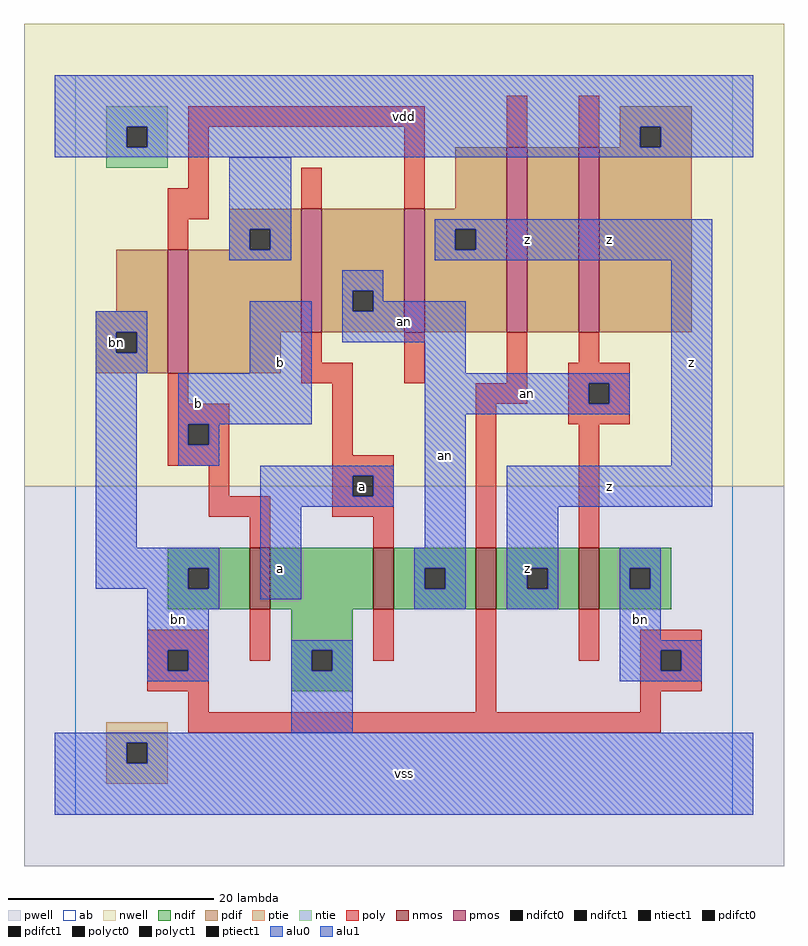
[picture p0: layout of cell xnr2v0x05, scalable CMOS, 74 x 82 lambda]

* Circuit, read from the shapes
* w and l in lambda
.subckt xnr2v0x05 a an b bn vdd vss z
M1 vss b bn vss nfet w=6 l=2
M2 an a vss vss nfet w=6 l=2
M3 z bn an vss nfet w=6 l=2
M4 bn an z vss nfet w=6 l=2
M5 vdd b bn vdd pfet w=12 l=2
M6 an a vdd vdd pfet w=12 l=2
M7 z b an vdd pfet w=12 l=2
M8 n1 bn z vdd pfet w=18 l=2
M9 vdd an n1 vdd pfet w=18 l=2
.ends

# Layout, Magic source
magic
tech scmos
<< ab >>
rect 0 0 64 72
<< nwell >>
rect -5 32 69 77
<< pwell >>
rect -5 -5 69 32
<< poly >>
rect 11 67 34 69
rect 11 61 13 67
rect 9 58 13 61
rect 22 59 24 63
rect 32 59 34 67
rect 42 65 44 70
rect 49 65 51 70
rect 9 55 11 58
rect 22 44 24 47
rect 9 40 11 43
rect 22 42 27 44
rect 32 42 34 47
rect 42 42 44 47
rect 49 44 51 47
rect 9 38 15 40
rect 9 36 11 38
rect 13 36 15 38
rect 9 34 15 36
rect 13 31 15 34
rect 25 35 27 42
rect 39 40 44 42
rect 48 42 54 44
rect 48 40 50 42
rect 52 40 54 42
rect 25 33 31 35
rect 25 31 27 33
rect 29 31 31 33
rect 13 29 19 31
rect 25 29 31 31
rect 17 26 19 29
rect 29 26 31 29
rect 39 26 41 40
rect 48 38 54 40
rect 49 26 51 38
rect 7 16 13 18
rect 7 14 9 16
rect 11 14 13 16
rect 17 15 19 20
rect 7 12 13 14
rect 29 15 31 20
rect 11 10 13 12
rect 39 10 41 20
rect 49 15 51 20
rect 55 16 61 18
rect 55 14 57 16
rect 59 14 61 16
rect 55 12 61 14
rect 55 10 57 12
rect 11 8 57 10
<< ndif >>
rect 9 24 17 26
rect 9 22 11 24
rect 13 22 17 24
rect 9 20 17 22
rect 19 20 29 26
rect 31 24 39 26
rect 31 22 34 24
rect 36 22 39 24
rect 31 20 39 22
rect 41 24 49 26
rect 41 22 44 24
rect 46 22 49 24
rect 41 20 49 22
rect 51 24 58 26
rect 51 22 54 24
rect 56 22 58 24
rect 51 20 58 22
rect 21 16 27 20
rect 21 14 23 16
rect 25 14 27 16
rect 21 12 27 14
<< pdif >>
rect 53 67 60 69
rect 53 65 55 67
rect 57 65 60 67
rect 37 59 42 65
rect 15 57 22 59
rect 15 55 17 57
rect 19 55 22 57
rect 4 49 9 55
rect 2 47 9 49
rect 2 45 4 47
rect 6 45 9 47
rect 2 43 9 45
rect 11 47 22 55
rect 24 51 32 59
rect 24 49 27 51
rect 29 49 32 51
rect 24 47 32 49
rect 34 57 42 59
rect 34 55 37 57
rect 39 55 42 57
rect 34 47 42 55
rect 44 47 49 65
rect 51 47 60 65
rect 11 43 20 47
<< alu1 >>
rect -2 67 66 72
rect -2 65 5 67
rect 7 65 55 67
rect 57 65 66 67
rect -2 64 66 65
rect 35 57 62 58
rect 35 55 37 57
rect 39 55 62 57
rect 35 54 62 55
rect 17 43 23 50
rect 10 38 23 43
rect 10 36 11 38
rect 13 36 14 38
rect 10 34 14 36
rect 18 33 31 34
rect 18 31 27 33
rect 29 31 31 33
rect 18 30 31 31
rect 18 21 22 30
rect 58 34 62 54
rect 42 30 62 34
rect 42 24 47 30
rect 42 22 44 24
rect 46 22 47 24
rect 42 20 47 22
rect -2 7 66 8
rect -2 5 5 7
rect 7 5 66 7
rect -2 0 66 5
<< ptie >>
rect 3 7 9 9
rect 3 5 5 7
rect 7 5 9 7
rect 3 3 9 5
<< ntie >>
rect 3 67 9 69
rect 3 65 5 67
rect 7 65 9 67
rect 3 63 9 65
<< nmos >>
rect 17 20 19 26
rect 29 20 31 26
rect 39 20 41 26
rect 49 20 51 26
<< pmos >>
rect 9 43 11 55
rect 22 47 24 59
rect 32 47 34 59
rect 42 47 44 65
rect 49 47 51 65
<< polyct0 >>
rect 50 40 52 42
rect 9 14 11 16
rect 57 14 59 16
<< polyct1 >>
rect 11 36 13 38
rect 27 31 29 33
<< ndifct0 >>
rect 11 22 13 24
rect 34 22 36 24
rect 54 22 56 24
rect 23 14 25 16
<< ndifct1 >>
rect 44 22 46 24
<< ntiect1 >>
rect 5 65 7 67
<< ptiect1 >>
rect 5 5 7 7
<< pdifct0 >>
rect 17 55 19 57
rect 4 45 6 47
rect 27 49 29 51
<< pdifct1 >>
rect 55 65 57 67
rect 37 55 39 57
<< alu0 >>
rect 15 57 21 64
rect 15 55 17 57
rect 19 55 21 57
rect 15 54 21 55
rect 26 51 30 53
rect 2 47 7 49
rect 2 45 4 47
rect 6 45 7 47
rect 2 43 7 45
rect 26 49 27 51
rect 29 50 30 51
rect 29 49 38 50
rect 26 46 38 49
rect 2 26 6 43
rect 34 43 38 46
rect 34 42 54 43
rect 34 40 50 42
rect 52 40 54 42
rect 34 39 54 40
rect 2 24 14 26
rect 2 22 11 24
rect 13 22 14 24
rect 7 20 14 22
rect 34 26 38 39
rect 33 24 38 26
rect 33 22 34 24
rect 36 22 38 24
rect 33 20 38 22
rect 53 24 57 26
rect 53 22 54 24
rect 56 22 57 24
rect 7 16 13 20
rect 53 17 57 22
rect 7 14 9 16
rect 11 14 13 16
rect 7 13 13 14
rect 21 16 27 17
rect 21 14 23 16
rect 25 14 27 16
rect 21 8 27 14
rect 53 16 61 17
rect 53 14 57 16
rect 59 14 61 16
rect 53 13 61 14
<< labels >>
rlabel alu0 10 19 10 19 6 bn
rlabel alu0 4 46 4 46 6 bn
rlabel alu0 36 35 36 35 6 an
rlabel alu0 32 48 32 48 6 an
rlabel alu0 55 19 55 19 6 bn
rlabel alu0 44 41 44 41 6 an
rlabel alu1 12 40 12 40 6 b
rlabel polyct1 28 32 28 32 6 a
rlabel alu1 20 24 20 24 6 a
rlabel alu1 20 44 20 44 6 b
rlabel alu1 32 4 32 4 6 vss
rlabel alu1 44 24 44 24 6 z
rlabel alu1 44 56 44 56 6 z
rlabel alu1 32 68 32 68 6 vdd
rlabel alu1 52 32 52 32 6 z
rlabel alu1 60 44 60 44 6 z
rlabel alu1 52 56 52 56 6 z
<< end >>
